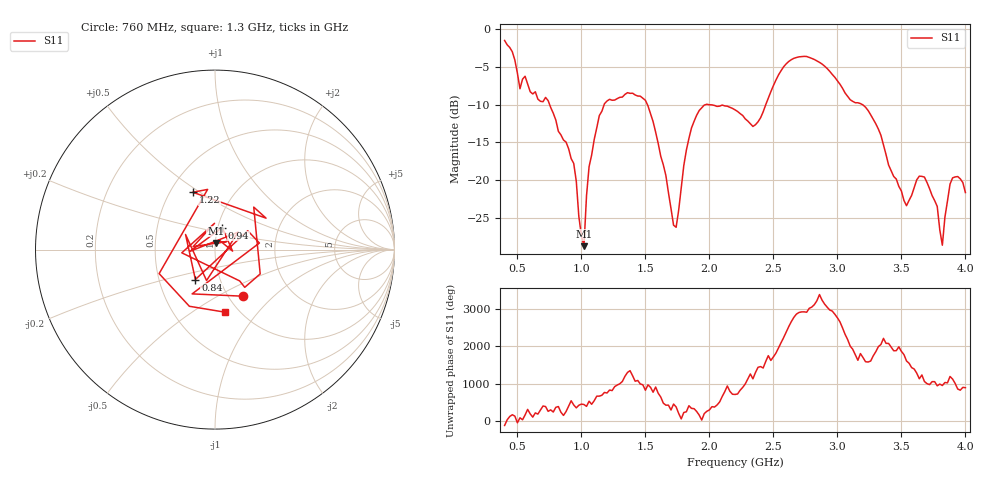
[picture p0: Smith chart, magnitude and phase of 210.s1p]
!Created with skrf (http://scikit-rf.org).
# Hz S RI R 50.0
!freq ReS11 ImS11
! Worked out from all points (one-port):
!   181 points, 400 MHz to 4 GHz, reference 50 ohm
!   lowest |S11| = -28.7 dB at 1.02 GHz (marker M1), VSWR 1.08, Z = 50.3 + j3.67 ohm
!   |S11| at or under -10 dB: 1.516 GHz to 1.971 GHz (455.9 MHz wide, 26.1 % of centre); 1.994 GHz to 2.44 GHz (446.8 MHz wide, 20.2 % of centre); 3.195 GHz to end of sweep (the widest 3 of 4)
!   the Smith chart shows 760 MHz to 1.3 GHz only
!   S11 on the Smith chart (normalised r, x): 760 MHz: 1.16, -0.67; 840 MHz: 0.76, -0.26; 940 MHz: 1.05, +0.26; 1.22 GHz: 0.65, +0.47; 1.3 GHz: 0.86, -0.69
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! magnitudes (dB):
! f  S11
! 400 MHz  -1.5
! 520 MHz  -7.9
! 560 MHz  -6.3
! 760 MHz  -10.4
! 840 MHz  -14.0
! 860 MHz  -14.7
! 940 MHz  -17.8
! 1.02 GHz  -28.7
! 1.06 GHz  -18.2
! 1.14 GHz  -11.4
! 1.22 GHz  -9.3
! 1.3 GHz  -9.0
! 1.5 GHz  -9.4
! 1.72 GHz  -25.9
! 1.76 GHz  -24.0
! 1.82 GHz  -16.0
! 1.92 GHz  -10.8
! 2.2 GHz  -10.7
! 2.36 GHz  -12.7
! 2.66 GHz  -3.9
! 3.1 GHz  -9.4
! 3.26 GHz  -11.3
! 3.56 GHz  -22.7
! 3.68 GHz  -19.6
! 3.78 GHz  -23.5
! 3.82 GHz  -28.6
! 3.9 GHz  -19.7
! 4 GHz  -21.6
